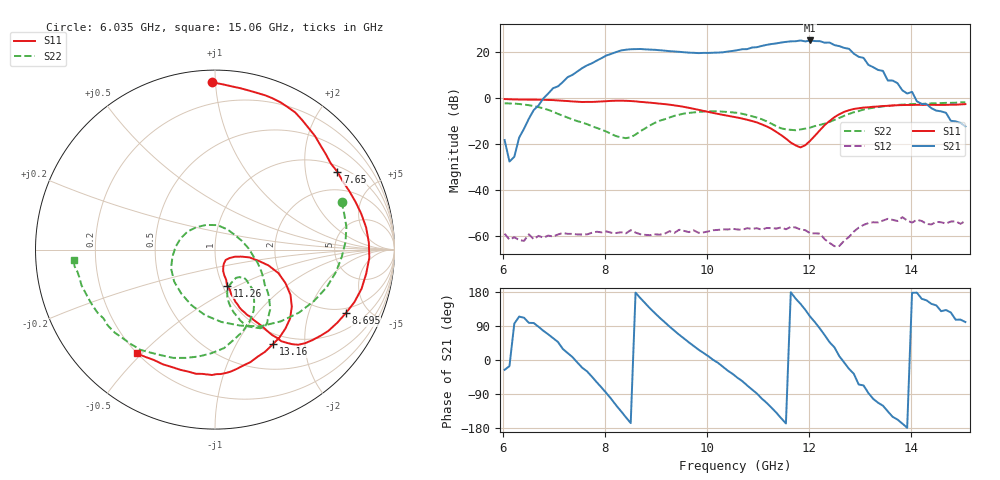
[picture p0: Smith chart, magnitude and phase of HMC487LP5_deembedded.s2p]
!Hittite Microwave Corporation
!20 Alpha Road
!Chelmsford, MA 01824
!Tel: 978-250-3343
!Fax: 978-250-3373
!Device: HMC487LP5, 9-12 GHz, GaAs PHEMT MMIC 2 Watt Power Amplifier in leadless 5x5 mm SMT package
!Misc: Vdd1,2,3,4,5 = +7V, Idd = 1300 mA, Room
# MHZ S MA R 50
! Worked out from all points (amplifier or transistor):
!   96 points, 6.035 GHz to 15.06 GHz, reference 50 ohm
!   highest |S21| = 24.8 dB at 12.02 GHz (marker M1)
!   |S21| within 3 dB of that: 10.93 GHz to 12.66 GHz (1.724 GHz wide, 14.6 % of centre)
!   unconditionally stable (mu >= 1): start of sweep to end of sweep
!   at 7.555 GHz: K = 34.35, MAG = 17.8 dB, |S12| = -59.4 dB
!   at 10.6 GHz: K = 23.00, MAG = 22.3 dB, |S12| = -57.2 dB
!   at 15.06 GHz: K = 178.97, MAG = -5.0 dB, |S12| = -53.5 dB
!   S11 on the Smith chart (normalised r, x): 6.035 GHz: 0.07, +0.98; 7.65 GHz: 1.20, +3.00; 8.695 GHz: 1.72, -3.55; 11.26 GHz: 1.05, -0.44; 13.16 GHz: 0.84, -1.43; 15.06 GHz: 0.20, -0.48
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6035  0.932 90.9  0.12 -26.0  0.001116 -46.3  0.754 20.8
7080  0.87 56.1  1.759 47.7  0.00107 -72.0  0.445 -71.9
7555  0.804 36.6  4.38 -20.5  0.00107 -96.9  0.289 -142.0
7650  0.808 32.4  5.02 -30.0  0.001076 -102.9  0.266 -157.1
8220  0.858 2.6  9.777 -119.6  0.001152 -144.6  0.146 109.7
8505  0.845 -15.0  11.24 -166.5  0.001328 -168.2  0.138 35.6
8695  0.81 -26.0  11.37 163.1  0.001084 -174.1  0.187 2.1
9075  0.74 -43.1  10.69 111.2  0.001063 170.8  0.316 -31.1
9835  0.543 -57.2  9.263 27.2  0.001161 129.5  0.488 -53.0
10595  0.37 -66.0  10.74 -46.8  0.001376 109.2  0.467 -66.6
10880  0.311 -68.7  12.22 -77.9  0.001413 96.4  0.395 -71.5
11260  0.211 -71.5  14.58 -125.5  0.001469 87.5  0.273 -75.5
11640  0.106 -64.2  16.67 178.7  0.001565 80.1  0.2 -58.3
11830  0.083 -43.6  17.4 148.2  0.001371 71.3  0.204 -48.7
12020  0.116 -20.1  17.43 114.4  0.001135 63.2  0.224 -44.1
12115  0.15 -15.1  16.9 99.4  0.001131 63.1  0.242 -44.1
12400  0.311 -16.5  15.71 46.9  0.0007029 67.1  0.296 -46.2
12590  0.436 -25.6  13.13 10.2  0.0006018 96.1  0.362 -52.9
12780  0.533 -36.6  11.48 -23.3  0.0009458 112.1  0.443 -64.0
13160  0.618 -58.6  5.148 -87.1  0.001895 90.8  0.579 -92.3
13635  0.676 -79.8  2.352 -149.9  0.002222 72.3  0.676 -121.8
15060  0.724 -127.0  0.237 100.2  0.002106 26.1  0.79 -175.9
